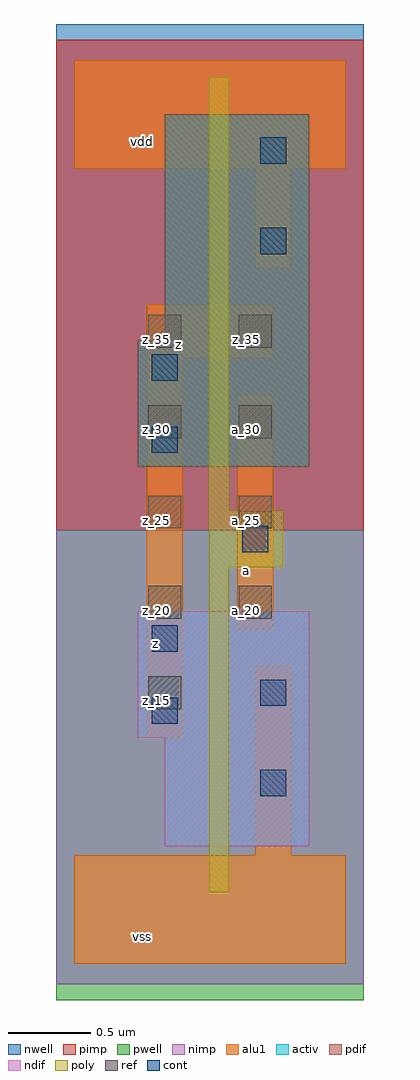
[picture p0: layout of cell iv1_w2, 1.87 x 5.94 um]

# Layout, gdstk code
import gdstk
lib = gdstk.Library(unit=1e-6, precision=2.5e-09)
def R(c, l, rs):  # rectangles x0, y0, x1, y1
    for r in rs: c.add(gdstk.rectangle(r[:2], r[2:], *l))
def A(c, l, x, y, w, h, nx, ny, dx, dy):  # array of equal rectangles
    R(c, l, [(x+i*dx, y+j*dy, x+i*dx+w, y+j*dy+h) for i in range(nx) for j in range(ny)])
ndif = (3, 0)
pdif = (4, 0)
ref = (24, 0)
cont = (25, 0)
pwell = (41, 0)
nwell = (42, 0)
activ = (43, 0)
pimp = (44, 0)
nimp = (45, 0)
poly = (46, 0)
alu1 = (49, 0)

iv1_w2 = lib.new_cell('iv1_w2')
R(iv1_w2, ndif, [(0.55,0.715,1.43,1.375), (0.385,1.375,1.43,2.145)])
R(iv1_w2, pdif, [(0.385,3.025,1.43,3.795), (0.55,3.795,1.43,5.17)])
A(iv1_w2, ref, 0.45, 1.55, 0.2, 0.2, 1, 5, 0, 0.55)
A(iv1_w2, ref, 1, 2.1, 0.2, 0.2, 1, 4, 0, 0.55)
R(iv1_w2, cont, [(1.13,1.02,1.29,1.18), (0.47,1.46,0.63,1.62), (1.13,1.57,1.29,1.73), (0.47,1.9,0.63,2.06), (1.02,2.505,1.18,2.665), (0.47,3.11,0.63,3.27), (0.47,3.55,0.63,3.71), (1.13,4.32,1.29,4.48), (1.13,4.87,1.29,5.03)])
R(iv1_w2, pwell, [(-0.11,-0.22,1.76,2.64)])
R(iv1_w2, nwell, [(-0.11,2.64,1.76,5.72)])
R(iv1_w2, activ, [(0.55,0.715,1.43,1.375), (0.385,1.375,1.43,2.145), (0.385,3.025,1.43,3.795), (0.55,3.795,1.43,5.17)])
R(iv1_w2, pimp, [(-0.11,2.64,1.76,5.625)])
R(iv1_w2, nimp, [(-0.11,-0.125,1.76,2.64)])
R(iv1_w2, poly, [(0.82,0.435,0.94,2.415), (0.82,2.415,1.27,2.755), (0.82,2.755,0.94,5.395)])
R(iv1_w2, alu1, [(0,0,1.65,0.66), (1.1,0.66,1.32,1.815), (0.44,1.375,0.66,3.685), (0.99,2.035,1.21,3.465), (0.44,3.685,1.21,4.015), (1.1,4.235,1.32,4.84), (0,4.84,1.65,5.5)])
iv1_w2.add(gdstk.Label('vss', (0.4125,0.165), layer=49, texttype=0))
iv1_w2.add(gdstk.Label('a', (1.045,2.3925), layer=49, texttype=0))
iv1_w2.add(gdstk.Label('z', (0.495,1.9525), layer=49, texttype=0))
iv1_w2.add(gdstk.Label('z', (0.6325,3.7675), layer=49, texttype=0))
iv1_w2.add(gdstk.Label('vdd', (0.4125,5.005), layer=49, texttype=0))
iv1_w2.add(gdstk.Label('z_15', (0.5,1.6), layer=24, texttype=0))
iv1_w2.add(gdstk.Label('a_20', (1.05,2.15), layer=24, texttype=0))
iv1_w2.add(gdstk.Label('z_35', (0.5,3.8), layer=24, texttype=0))
iv1_w2.add(gdstk.Label('a_30', (1.05,3.25), layer=24, texttype=0))
iv1_w2.add(gdstk.Label('a_25', (1.05,2.7), layer=24, texttype=0))
iv1_w2.add(gdstk.Label('z_30', (0.5,3.25), layer=24, texttype=0))
iv1_w2.add(gdstk.Label('z_20', (0.5,2.15), layer=24, texttype=0))
iv1_w2.add(gdstk.Label('z_25', (0.5,2.7), layer=24, texttype=0))
iv1_w2.add(gdstk.Label('z_35', (1.05,3.8), layer=24, texttype=0))

lib.write_gds('iv1_w2.gds')
